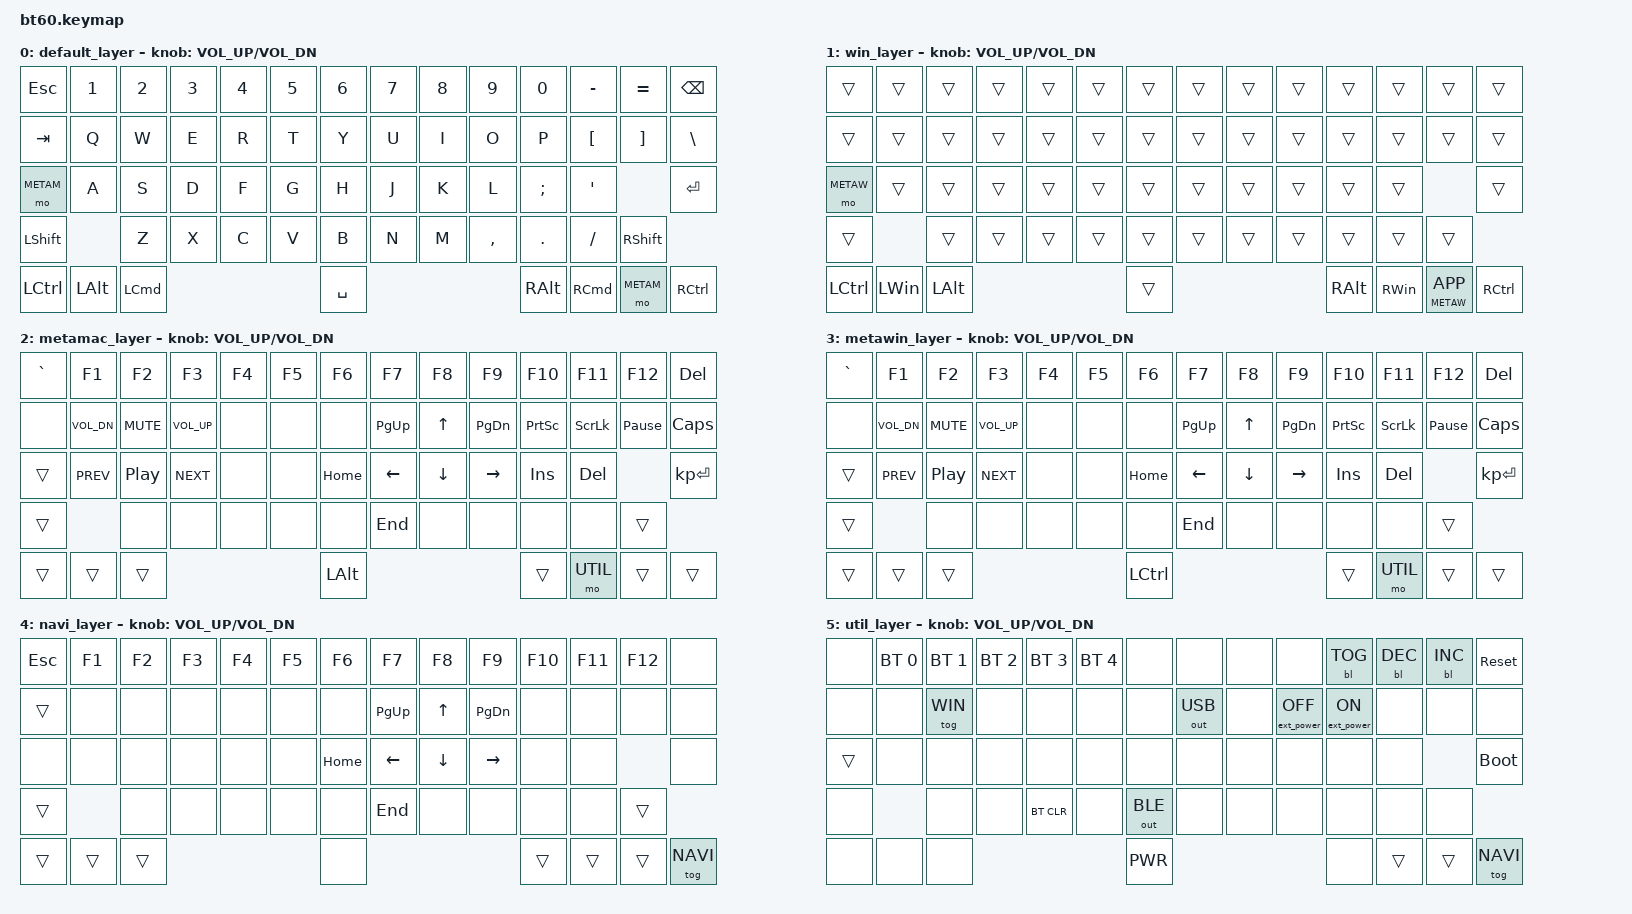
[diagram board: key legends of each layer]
#include <behaviors.dtsi>
#include <dt-bindings/zmk/keys.h>
#include <dt-bindings/zmk/bt.h>
#include <dt-bindings/zmk/rgb.h>
#include <dt-bindings/zmk/backlight.h>
#include <dt-bindings/zmk/outputs.h>
#include <dt-bindings/zmk/ext_power.h>

#define DEFAULT 0
#define WIN 1
#define METAM 2
#define METAW 3
#define NAVI 4
#define UTIL 5

/ {
    combos {
        compatible = "zmk,combos";
        combo_capsword {
            timeout-ms = <100>;
            key-positions = <41 52>;
            layers = <0 1>;
            bindings = <&caps_word>;
        };
    };
    keymap {
        compatible = "zmk,keymap";

        default_layer {
                // Regular macOS bottom row on the left, custom on the right; switches to metamac layer
                // ----------------------------------------------------------------------------------------
                // |  ESC|  1  |  2  |  3  |  4  |  5  |  6  |  7  |  8  |  9  |  0  |  -  |  =  |   BKSP |
                // |  TAB |  Q  |  W  |  E  |  R  |  T  |  Y  |  U  |  I  |  O  |  P  |  [  |  ]  |   \   |
                // |  LAY   |  A  |  S  |  D  |  F  |  G  |  H  |  J  |  K  |  L  |  ;  |  '  |     ENTER |
                // |  SHIFT  |  Z  |  X  |  C  |  V  |  B  |  N  |  M  |  ,  |  .  | /   |      SHIFT     |
                // |  CTL  |  OPT  |  CMD  |             SPACE              |  ALT  |  CMD  | LAY |  CTL  |
                // ----------------------------------------------------------------------------------------
            bindings = <
                &kp ESC 		&kp N1 			&kp N2 			&kp N3 			&kp N4 			&kp N5 			&kp N6 			&kp N7 			&kp N8 			&kp N9 			&kp N0 			&kp MINUS 		&kp EQUAL 		&kp BSPC
                &kp TAB 		&kp Q 			&kp W 			&kp E 			&kp R 			&kp T 			&kp Y 			&kp U 			&kp I 			&kp O 			&kp P 			&kp LBKT 		&kp RBKT 		&kp BSLH
                &mo METAM 		&kp A 			&kp S 			&kp D 			&kp F 			&kp G 			&kp H 			&kp J 			&kp K 			&kp L 			&kp SEMI 		&kp SQT 						&kp RET
                &kp LSHFT 						&kp Z 			&kp X 			&kp C 			&kp V 			&kp B 			&kp N 			&kp M 			&kp COMMA 		&kp DOT 		&kp FSLH 		&kp RSHFT
                &kp LCTRL 		&kp LALT 		&kp LCMD														&kp SPACE 														&kp RALT 		&kp RCMD 		&mo METAM 		&kp RCTRL
            >;
            sensor-bindings = <&inc_dec_kp C_VOL_UP C_VOL_DN>;
        };
        win_layer {
                // Regular IBM/Windows bottom row; switches to metawin layer
                // -----------------------------------------------------------------------------------------
                // |  ESC|  1  |  2  |  3  |  4  |  5  |  6  |  7  |  8  |  9  |  0  |  -  |  =  |   BKSP  |
                // |  TAB |  Q  |  W  |  E  |  R  |  T  |  Y  |  U  |  I  |  O  |  P  |  [  |  ]  |   \    |
                // |  LAY   |  A  |  S  |  D  |  F  |  G  |  H  |  J  |  K  |  L  |  ;  |  '  |     ENTER  |
                // |  SHIFT  |  Z  |  X  |  C  |  V  |  B  |  N  |  M  |  ,  |  .  | /   |      SHIFT      |
                // |  CTL  |  WIN  |  ALT  |             SPACE              |  ALT  |  WIN  | LAY/APP | CTL|
                // -----------------------------------------------------------------------------------------
            bindings = <
                &trans 			&trans 			&trans 			&trans 			&trans 			&trans 			&trans 			&trans 			&trans 			&trans 			&trans 			&trans 			&trans 			&trans
                &trans 			&trans 			&trans 			&trans 			&trans 			&trans 			&trans 			&trans 			&trans 			&trans 			&trans 			&trans 			&trans 			&trans
                &mo METAW 		&trans 			&trans 			&trans 			&trans 			&trans 			&trans 			&trans 			&trans 			&trans 			&trans 			&trans 							&trans
                &trans 							&trans 			&trans 			&trans 			&trans 			&trans 			&trans 			&trans 			&trans 			&trans 			&trans 			&trans
                &kp LCTRL 		&kp LWIN 		&kp LALT 														&trans 															&kp RALT 		&kp RWIN 		&lt METAW K_APP &kp RCTRL
            >;
            sensor-bindings = <&inc_dec_kp C_VOL_UP C_VOL_DN>;
        };
        metamac_layer {
                // F-keys, navigation, media controls, syskeys, Alt on Space
            bindings = <
                &kp GRAVE 		&kp F1 			&kp F2 			&kp F3 			&kp F4 			&kp F5 			&kp F6 			&kp F7 			&kp F8 			&kp F9 			&kp F10 		&kp F11 		&kp F12 		&kp DEL
                &none 			&kp C_VOL_DN 	&kp K_MUTE 		&kp C_VOL_UP 	&none 			&none 			&none 			&kp PG_UP 		&kp UP 			&kp PG_DN 		&kp PSCRN 		&kp SLCK 		&kp PAUSE_BREAK &kp CAPS
                &trans 			&kp C_PREV 		&kp C_PP 		&kp C_NEXT 		&none 			&none 			&kp HOME 		&kp LEFT 		&kp DOWN 		&kp RIGHT 		&kp INS 		&kp DEL 						&kp KP_ENTER
                &trans 							&none 			&none 			&none 			&none 			&none 			&kp END 		&none 			&none 			&none 			&none 			&trans
                &trans 			&trans 			&trans 															&kp LALT 														&trans 			&mo UTIL 		&trans 			&trans
            >;
            sensor-bindings = <&inc_dec_kp C_VOL_UP C_VOL_DN>;
        };
        metawin_layer {
                // F-keys, navigation, media controls, syskeys, Ctrl on Space
            bindings = <
                &kp GRAVE 		&kp F1 			&kp F2 			&kp F3 			&kp F4 			&kp F5 			&kp F6 			&kp F7 			&kp F8 			&kp F9 			&kp F10 		&kp F11 		&kp F12 		&kp DEL
                &none 			&kp C_VOL_DN 	&kp K_MUTE 		&kp C_VOL_UP 	&none 			&none 			&none 			&kp PG_UP 		&kp UP 			&kp PG_DN 		&kp PSCRN 		&kp SLCK 		&kp PAUSE_BREAK &kp CAPS
                &trans 			&kp C_PREV 		&kp C_PP 		&kp C_NEXT 		&none 			&none 			&kp HOME 		&kp LEFT 		&kp DOWN 		&kp RIGHT 		&kp INS 		&kp DEL 						&kp KP_ENTER
                &trans 							&none 			&none 			&none 			&none 			&none 			&kp END 		&none 			&none 			&none 			&none 			&trans
                &trans 			&trans 			&trans 															&kp LCTRL 														&trans 			&mo UTIL 		&trans 			&trans
            >;
            sensor-bindings = <&inc_dec_kp C_VOL_UP C_VOL_DN>;
        };
        navi_layer {
                // Toggled navigation keys
            bindings = <
                &kp ESC 		&kp F1 			&kp F2 			&kp F3 			&kp F4 			&kp F5 			&kp F6 			&kp F7 			&kp F8 			&kp F9 			&kp F10 		&kp F11 		&kp F12 		&none
                &trans 			&none 			&none 			&none 			&none 			&none 			&none 			&kp PG_UP 		&kp UP 			&kp PG_DN 		&none 			&none 			&none 			&none
                &none 			&none 			&none 			&none 			&none 			&none 			&kp HOME 		&kp LEFT 		&kp DOWN 		&kp RIGHT 		&none 			&none 							&none
                &trans 							&none 			&none 			&none 			&none 			&none 			&kp END 		&none 			&none 			&none 			&none 			&trans
                &trans 			&trans 			&trans 															&none 															&trans 			&trans		    &trans 			&tog NAVI
            >;
            sensor-bindings = <&inc_dec_kp C_VOL_UP C_VOL_DN>;
        };
        util_layer {
                // Hardware functions, layer toggles
            bindings = <
                 &none 			&bt BT_SEL 0 	&bt BT_SEL 1 	&bt BT_SEL 2 	&bt BT_SEL 3 	&bt BT_SEL 4 	&none 			&none 			&none 			&none 			&bl BL_TOG 		&bl BL_DEC 		&bl BL_INC 		&sys_reset
                 &none   		&none 			&tog WIN 		&none 			&none 			&none 			&none 			&out OUT_USB 	&none 			&ext_power EP_OFF &ext_power EP_ON &none 		&none 			&none
                 &trans 		&none 			&none 			&none 			&none 			&none           &none 		    &none 			&none 			&none 			&none 			&none 							&bootloader
                 &none   						&none 			&none 			&bt BT_CLR 		&none 			&out OUT_BLE 	&none 			&none 			&none 			&none 			&none 			&none
                 &none 		    &none 			&none 															&kp C_PWR 														&none 			&trans 		    &trans 			&tog NAVI
            >;
            sensor-bindings = <&inc_dec_kp C_VOL_UP C_VOL_DN>;
        };

    };
};
